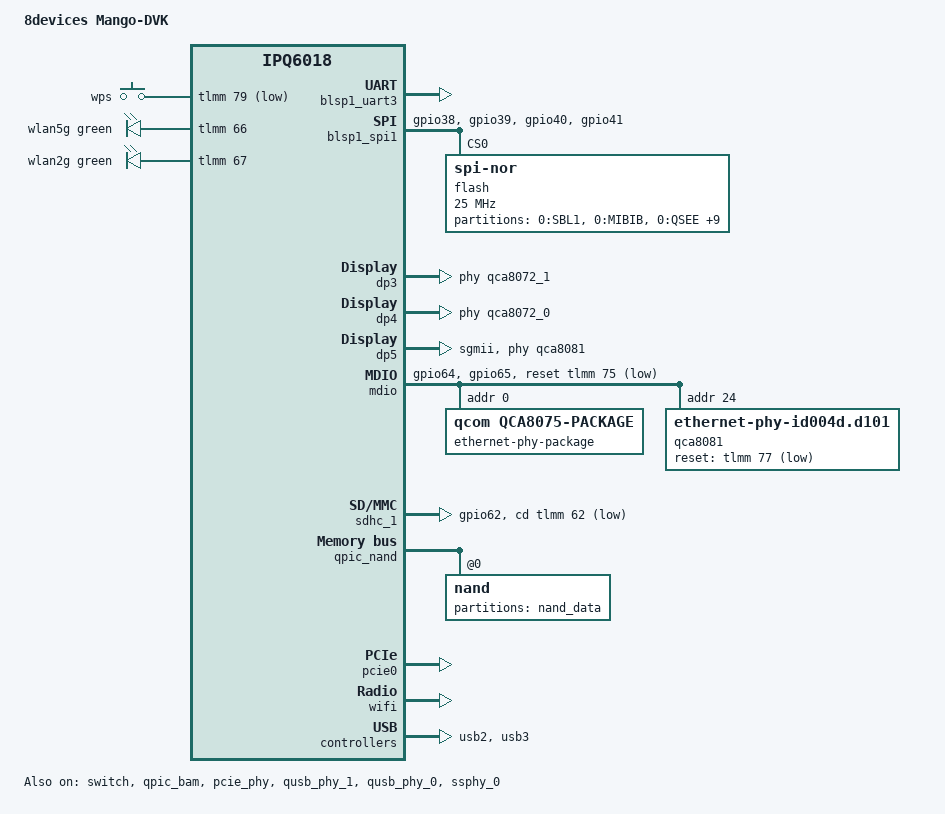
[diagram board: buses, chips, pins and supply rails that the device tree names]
// SPDX-License-Identifier: GPL-2.0-or-later OR MIT

/dts-v1/;

#include "ipq6018.dtsi"
#include "ipq6018-cp-cpu.dtsi"
#include "ipq6018-ess.dtsi"
#include <dt-bindings/gpio/gpio.h>
#include <dt-bindings/input/input.h>
#include <dt-bindings/leds/common.h>

/ {
	model = "8devices Mango-DVK";
	compatible = "8devices,mango-dvk", "qcom,ipq6018";

	aliases {
		serial0 = &blsp1_uart3;
	};

	chosen {
		stdout-path = "serial0:115200n8";
	};

	keys {
		compatible = "gpio-keys";

		wps {
			label = "wps";
			gpios = <&tlmm 79 GPIO_ACTIVE_LOW>;
			linux,code = <KEY_WPS_BUTTON>;
		};
	};

	leds {
		compatible = "gpio-leds";
		pinctrl-0 = <&led_pins>;
		pinctrl-names = "default";

		wlan5g {
			color = <LED_COLOR_ID_GREEN>;
			function = LED_FUNCTION_WLAN;
			function-enumerator = <0>;
			gpios = <&tlmm 66 GPIO_ACTIVE_HIGH>;
			linux,default-trigger = "phy0radio";
		};

		wlan2g {
			color = <LED_COLOR_ID_GREEN>;
			function = LED_FUNCTION_WLAN;
			function-enumerator = <1>;
			gpios = <&tlmm 67 GPIO_ACTIVE_HIGH>;
			linux,default-trigger = "phy1radio";
		};
	};
};

&tlmm {
	mdio_pins: mdio-pins {
		mdc {
			pins = "gpio64";
			function = "mdc";
			drive-strength = <8>;
			bias-pull-up;
		};

		mdio {
			pins = "gpio65";
			function = "mdio";
			drive-strength = <8>;
			bias-pull-up;
		};
	};

	spi_0_pins: spi-0-pins {
		pins = "gpio38", "gpio39", "gpio40", "gpio41";
		function = "blsp0_spi";
		drive-strength = <8>;
		bias-pull-down;
	};

	led_pins: led_pins {
		leds {
			pins = "gpio66", "gpio67";
			function = "gpio";
			drive-strength = <8>;
			bias-pull-down;
		};
	};

	sd_pins: sd_pins {
		sd_cd {
			 pins = "gpio62";
			 function = "gpio";
			 drive-strength = <8>;
			 bias-pull-up;
		};
	};
};

&blsp1_uart3 {
	pinctrl-0 = <&serial_3_pins>;
	pinctrl-names = "default";
	status = "okay";
};

&blsp1_spi1 {
	pinctrl-0 = <&spi_0_pins>;
	pinctrl-names = "default";
	status = "okay";

	flash@0 {
		#address-cells = <1>;
		#size-cells = <1>;
		reg = <0>;
		compatible = "jedec,spi-nor";
		spi-max-frequency = <25000000>;

		partitions {
			compatible = "fixed-partitions";
			#address-cells = <1>;
			#size-cells = <1>;

			partition@0 {
				label = "0:SBL1";
				reg = <0x00000000 0x000c0000>;
			};

			partition@c0000 {
				label = "0:MIBIB";
				reg = <0x000c0000 0x00010000>;
			};

			partition@d0000 {
				label = "0:QSEE";
				reg = <0x000d0000 0x001a0000>;
			};

			partition@270000 {
				label = "0:DEVCFG";
				reg = <0x00270000 0x00010000>;
			};

			partition@280000 {
				label = "0:RPM";
				reg = <0x00280000 0x00020000>;
			};

			partition@2a0000 {
				label = "0:CDT";
				reg = <0x002a0000 0x00010000>;
			};

			partition@2b0000 {
				label = "0:APPSBLENV";
				reg = <0x002b0000 0x00010000>;
			};

			partition@2c0000 {
				label = "0:APPSBL";
				reg = <0x002c0000 0x000a0000>;
			};

			partition@360000 {
				compatible = "nvmem-cells";
				#address-cells = <1>;
				#size-cells = <1>;
				label = "0:ART";
				reg = <0x00360000 0x00040000>;

				macaddr_eth0: macaddr@0 {
					reg = <0x0 0x6>;
				};

				macaddr_eth1: macaddr@6 {
					reg = <0x6 0x6>;
				};

				macaddr_eth2: macaddr@c {
					reg = <0xc 0x6>;
				};
			};

			partition@3a0000 {
				label = "config";
				reg = <0x003a0000 0x00040000>;
			};

			partition@3e0000 {
				label = "data";
				reg = <0x003e0000 0x00100000>;
			};

			partition@4e0000 {
				label = "firmware";
				compatible = "denx,fit";
				reg = <0x004e0000 0x1b20000>;
			};
		};
	};
};

&dp3 {
	status = "okay";

	phy-handle = <&qca8072_1>;
	nvmem-cells = <&macaddr_eth1>;
	nvmem-cell-names = "mac-address";
	label = "lan2";
};

&dp4 {
	status = "okay";

	phy-handle = <&qca8072_0>;
	nvmem-cells = <&macaddr_eth0>;
	nvmem-cell-names = "mac-address";
	label = "lan1";
};

&dp5 {
	status = "okay";

	phy-mode = "sgmii";
	phy-handle = <&qca8081>;
	nvmem-cells = <&macaddr_eth2>;
	nvmem-cell-names = "mac-address";
	label = "wan";
};

&edma {
	status = "okay";
};

&mdio {
	status = "okay";
	pinctrl-0 = <&mdio_pins>;
	pinctrl-names = "default";
	reset-gpios = <&tlmm 75 GPIO_ACTIVE_LOW>;
	reset-delay-us = <10000>;
	reset-post-delay-us = <50000>;

	ethernet-phy-package@0 {
		#address-cells = <1>;
		#size-cells = <0>;
		compatible = "qcom,qca8075-package";
		reg = <0>;

		qcom,package-mode = "psgmii";

		qca8072_0: ethernet-phy@3 {
			compatible = "ethernet-phy-ieee802.3-c22";
			reg = <3>;
		};

		qca8072_1: ethernet-phy@4 {
			compatible = "ethernet-phy-ieee802.3-c22";
			reg = <4>;
		};
	};

	qca8081: ethernet-phy@24 {
		compatible = "ethernet-phy-id004d.d101";
		reg = <24>;
		reset-gpios = <&tlmm 77 GPIO_ACTIVE_LOW>;
		reset-assert-us = <10000>;
		reset-deassert-us = <50000>;
	};
};

&sdhc_1 {
	pinctrl-0 = <&sd_pins>;
	pinctrl-names = "default";
	status = "okay";

	vqmmc-supply = <&ipq6018_l2>;
	cd-gpios = <&tlmm 62 GPIO_ACTIVE_LOW>;
};

&switch {
	status = "okay";

	switch_lan_bmp = <(ESS_PORT3 | ESS_PORT4)>;
	switch_wan_bmp = <ESS_PORT5>;
	switch_mac_mode = <MAC_MODE_PSGMII>;
	switch_mac_mode1 = <MAC_MODE_SGMII_PLUS>;
	port3_pcs_channel = <4>;

	qcom,port_phyinfo {
		port@3 {
			port_id = <3>;
			phy_address = <4>;
		};
		port@4 {
			port_id = <4>;
			phy_address = <3>;
		};
		port@5 {
			port_id = <5>;
			phy_address = <24>;
			port_mac_sel = "QGMAC_PORT";
		};
	};
};

&qpic_bam {
	status = "okay";
};

&qpic_nand {
	status = "okay";

	nand@0 {
		reg = <0>;

		nand-ecc-strength = <4>;
		nand-ecc-step-size = <512>;
		nand-bus-width = <8>;

		partitions {
			compatible = "fixed-partitions";
			#address-cells = <1>;
			#size-cells = <1>;

			partition@0 {
				label = "nand_data";
				reg = <0x0000000 0x10000000>;
			};
		};
	};
};

&pcie_phy {
	status = "okay";
};

&pcie0 {
	status = "okay";
	perst-gpio = <&tlmm 60 GPIO_ACTIVE_LOW>;
};

&wifi {
	status = "okay";
	qcom,ath11k-calibration-variant = "8devices-Mango";
};

&qusb_phy_1 {
	status = "okay";
};

&usb2 {
	status = "okay";
};

&qusb_phy_0 {
	status = "okay";
};

&ssphy_0 {
	status = "okay";
};

&usb3 {
	status = "okay";
};
